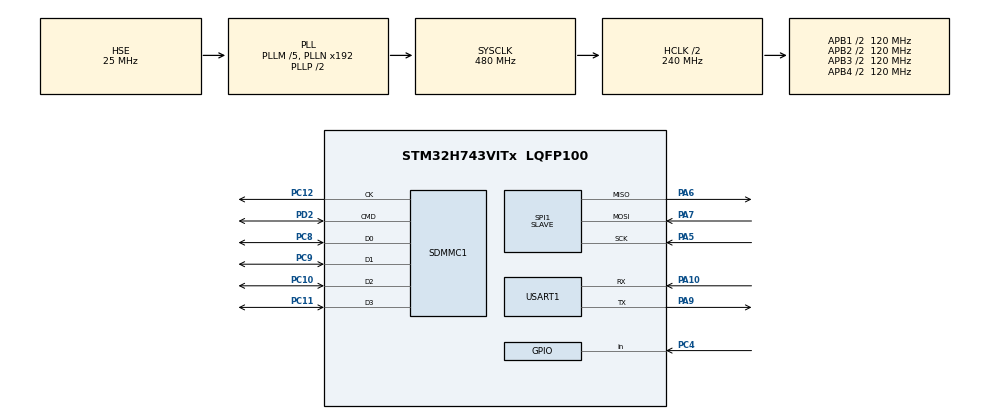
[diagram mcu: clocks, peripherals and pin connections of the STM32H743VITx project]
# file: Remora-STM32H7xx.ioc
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Dma.MEMTOMEM.2.Direction=DMA_MEMORY_TO_MEMORY
Dma.MEMTOMEM.2.EventEnable=DISABLE
Dma.MEMTOMEM.2.FIFOMode=DMA_FIFOMODE_ENABLE
Dma.MEMTOMEM.2.FIFOThreshold=DMA_FIFO_THRESHOLD_FULL
Dma.MEMTOMEM.2.Instance=DMA1_Stream2
Dma.MEMTOMEM.2.MemBurst=DMA_MBURST_SINGLE
Dma.MEMTOMEM.2.MemDataAlignment=DMA_MDATAALIGN_BYTE
Dma.MEMTOMEM.2.MemInc=DMA_MINC_ENABLE
Dma.MEMTOMEM.2.Mode=DMA_NORMAL
Dma.MEMTOMEM.2.PeriphBurst=DMA_PBURST_SINGLE
Dma.MEMTOMEM.2.PeriphDataAlignment=DMA_PDATAALIGN_BYTE
Dma.MEMTOMEM.2.PeriphInc=DMA_PINC_ENABLE
Dma.MEMTOMEM.2.Polarity=HAL_DMAMUX_REQ_GEN_RISING
Dma.MEMTOMEM.2.Priority=DMA_PRIORITY_LOW
Dma.MEMTOMEM.2.RequestNumber=1
Dma.MEMTOMEM.2.SignalID=NONE
Dma.MEMTOMEM.2.SyncEnable=DISABLE
Dma.MEMTOMEM.2.SyncPolarity=HAL_DMAMUX_SYNC_NO_EVENT
Dma.MEMTOMEM.2.SyncRequestNumber=1
Dma.MEMTOMEM.2.SyncSignalID=NONE
Dma.Request0=SPI1_TX
Dma.Request1=SPI1_RX
Dma.Request2=MEMTOMEM
Dma.SPI1_RX.1.Direction=DMA_PERIPH_TO_MEMORY
Dma.SPI1_RX.1.EventEnable=DISABLE
Dma.SPI1_RX.1.FIFOMode=DMA_FIFOMODE_DISABLE
Dma.SPI1_RX.1.Instance=DMA1_Stream1
Dma.SPI1_RX.1.MemDataAlignment=DMA_MDATAALIGN_BYTE
Dma.SPI1_RX.1.MemInc=DMA_MINC_ENABLE
Dma.SPI1_RX.1.Mode=DMA_CIRCULAR
Dma.SPI1_RX.1.PeriphDataAlignment=DMA_PDATAALIGN_BYTE
Dma.SPI1_RX.1.PeriphInc=DMA_PINC_DISABLE
Dma.SPI1_RX.1.Polarity=HAL_DMAMUX_REQ_GEN_RISING
Dma.SPI1_RX.1.Priority=DMA_PRIORITY_LOW
Dma.SPI1_RX.1.RequestNumber=1
Dma.SPI1_RX.1.SignalID=NONE
Dma.SPI1_RX.1.SyncEnable=DISABLE
Dma.SPI1_RX.1.SyncPolarity=HAL_DMAMUX_SYNC_NO_EVENT
Dma.SPI1_RX.1.SyncRequestNumber=1
Dma.SPI1_RX.1.SyncSignalID=NONE
Dma.SPI1_TX.0.Direction=DMA_MEMORY_TO_PERIPH
Dma.SPI1_TX.0.EventEnable=DISABLE
Dma.SPI1_TX.0.FIFOMode=DMA_FIFOMODE_DISABLE
Dma.SPI1_TX.0.Instance=DMA1_Stream0
Dma.SPI1_TX.0.MemDataAlignment=DMA_MDATAALIGN_BYTE
Dma.SPI1_TX.0.MemInc=DMA_MINC_ENABLE
Dma.SPI1_TX.0.Mode=DMA_CIRCULAR
Dma.SPI1_TX.0.PeriphDataAlignment=DMA_PDATAALIGN_BYTE
Dma.SPI1_TX.0.PeriphInc=DMA_PINC_DISABLE
Dma.SPI1_TX.0.Polarity=HAL_DMAMUX_REQ_GEN_RISING
Dma.SPI1_TX.0.Priority=DMA_PRIORITY_LOW
Dma.SPI1_TX.0.RequestNumber=1
Dma.SPI1_TX.0.SignalID=NONE
Dma.SPI1_TX.0.SyncEnable=DISABLE
Dma.SPI1_TX.0.SyncPolarity=HAL_DMAMUX_SYNC_NO_EVENT
Dma.SPI1_TX.0.SyncRequestNumber=1
Dma.SPI1_TX.0.SyncSignalID=NONE
FATFS.BSP.number=1
FATFS.USE_DMA_CODE_SD=1
FATFS0.BSP.STBoard=false
FATFS0.BSP.api=Unknown
FATFS0.BSP.instance=PC4
FATFS0.BSP.ip=GPIO
FATFS0.BSP.mode=Input
FATFS0.BSP.name=Detect_SDIO
FATFS0.BSP.solution=PC4
Mcu.Family=STM32H7
Mcu.Name=STM32H743VITx
Mcu.Package=LQFP100
NVIC.DMA1_Stream0_IRQn=true\:0\:0\:false\:false\:true\:false\:true\:true
NVIC.DMA1_Stream1_IRQn=true\:0\:0\:false\:false\:true\:false\:true\:true
NVIC.PriorityGroup=NVIC_PRIORITYGROUP_4
NVIC.SDMMC1_IRQn=true\:0\:0\:false\:false\:true\:true\:true\:true
NVIC.SPI1_IRQn=true\:0\:0\:false\:false\:true\:false\:true\:true
PA10.Mode=Asynchronous
PA10.Signal=USART1_RX
PA4.Signal=SPI1_NSS
PA5.Mode=Full_Duplex_Slave
PA5.Signal=SPI1_SCK
PA6.Mode=Full_Duplex_Slave
PA6.Signal=SPI1_MISO
PA7.Mode=Full_Duplex_Slave
PA7.Signal=SPI1_MOSI
PA9.Mode=Asynchronous
PA9.Signal=USART1_TX
PC10.Mode=SD_4_bits_Wide_bus
PC10.Signal=SDMMC1_D2
PC11.Mode=SD_4_bits_Wide_bus
PC11.Signal=SDMMC1_D3
PC12.Mode=SD_4_bits_Wide_bus
PC12.Signal=SDMMC1_CK
PC4.Signal=GPIO_Input
PC8.Mode=SD_4_bits_Wide_bus
PC8.Signal=SDMMC1_D0
PC9.Mode=SD_4_bits_Wide_bus
PC9.Signal=SDMMC1_D1
PD2.Mode=SD_4_bits_Wide_bus
PD2.Signal=SDMMC1_CMD
PH0-OSC_IN\ (PH0).Mode=HSE-External-Oscillator
PH0-OSC_IN\ (PH0).Signal=RCC_OSC_IN
PH1-OSC_OUT\ (PH1).Mode=HSE-External-Oscillator
PH1-OSC_OUT\ (PH1).Signal=RCC_OSC_OUT
ProjectManager.HeapSize=0x200
ProjectManager.StackSize=0x400
ProjectManager.TargetToolchain=STM32CubeIDE
RCC.ADCFreq_Value=150000000
RCC.APB1Freq_Value=120000000
RCC.APB2Freq_Value=120000000
RCC.APB3Freq_Value=120000000
RCC.APB4Freq_Value=120000000
RCC.CortexFreq_Value=480000000
RCC.D1PPRE=RCC_APB3_DIV2
RCC.D2PPRE1=RCC_APB1_DIV2
RCC.D2PPRE2=RCC_APB2_DIV2
RCC.D3PPRE=RCC_APB4_DIV2
RCC.DIVM1=5
RCC.DIVM2=2
RCC.DIVN1=192
RCC.DIVN2=12
RCC.DIVP2=1
RCC.DIVQ1=4
RCC.DIVQ2=10
RCC.HCLKFreq_Value=240000000
RCC.HPRE=RCC_HCLK_DIV2
RCC.PLL2FRACN=0
RCC.PLL3FRACN=0
RCC.PLLFRACN=0
RCC.PLLSourceVirtual=RCC_PLLSOURCE_HSE
RCC.PWR_Regulator_Voltage_Scale=PWR_REGULATOR_VOLTAGE_SCALE0
RCC.SPI123CLockSelection=RCC_SPI123CLKSOURCE_PLL2
RCC.SYSCLKFreq_VALUE=480000000
RCC.SYSCLKSource=RCC_SYSCLKSOURCE_PLLCLK
RCC.USBFreq_Value=240000000
SDMMC1.ClockDiv=8
SDMMC1.ClockPowerSave=SDMMC_CLOCK_POWER_SAVE_ENABLE
SPI1.Direction=SPI_DIRECTION_2LINES
SPI1.Mode=SPI_MODE_SLAVE
SPI1.VirtualType=VM_SLAVE
USART1.VirtualMode-Asynchronous=VM_ASYNC
VP_FATFS_VS_SDIO.Mode=SDIO
VP_MEMORYMAP_VS_MEMORYMAP.Mode=CurAppReg
board=custom

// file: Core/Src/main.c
/* USER CODE BEGIN Header */
/**
  ******************************************************************************
  * @file           : main.c
  * @brief          : Main program body
  ******************************************************************************
  * @attention
  *
  * Copyright (c) 2022 STMicroelectronics.
  * All rights reserved.
  *
  * This software is licensed under terms that can be found in the LICENSE file
  * in the root directory of this software component.
  * If no LICENSE file comes with this software, it is provided AS-IS.
  *
  ******************************************************************************
  */
/* USER CODE END Header */
#include "main.h"
#include "fatfs.h"

SD_HandleTypeDef hsd1;

SPI_HandleTypeDef hspi1;
DMA_HandleTypeDef hdma_spi1_tx;
DMA_HandleTypeDef hdma_spi1_rx;

UART_HandleTypeDef huart1;

DMA_HandleTypeDef hdma_memtomem_dma1_stream2;
/* USER CODE BEGIN PV */

uint8_t workBuffer[_MAX_SS];
/*
 * ensure that the read buffer 'rtext' is 32-Byte aligned in address and size
 * to guarantee that any other data in the cache won't be affected when the 'rtext'
 * is being invalidated.
 */
ALIGN_32BYTES(uint8_t rtext[64]);

/* USER CODE END PV */

void SystemClock_Config(void);
static void MX_GPIO_Init(void);
static void MX_DMA_Init(void);
static void MX_USART1_UART_Init(void);
static void MX_SDMMC1_SD_Init(void);

/* USER CODE BEGIN 0 */
int __io_putchar(int ch)
{
  HAL_UART_Transmit(&huart1, (uint8_t *)&ch, 1, 0xFFFF);
  return ch;
}

/* USER CODE END 0 */

int main(void)
{

  /* USER CODE BEGIN 1 */
  FRESULT res; /* FatFs function common result code */
  uint32_t byteswritten, bytesread; /* File write/read counts */
  uint8_t wtext[] = "STM32 FATFS works great!"; /* File write buffer */
  //uint8_t rtext[_MAX_SS];/* File read buffer */

  MPU_Config();

  /* Enable I-Cache */
  SCB_EnableICache();
  /* Enable D-Cache */
  //SCB_EnableDCache();

  /* USER CODE END 1 */

  /* MCU Configuration--------------------------------------------------------*/

  /* Reset of all peripherals, Initializes the Flash interface and the Systick. */
  HAL_Init();

  /* Configure the system clock */
  SystemClock_Config();

  /* Initialize all configured peripherals */
  MX_GPIO_Init();
  MX_DMA_Init();
  MX_USART1_UART_Init();
  MX_SDMMC1_SD_Init();
  MX_FATFS_Init();
  MX_SPI1_Init();
  /* USER CODE BEGIN 2 */

  //SCB_DisableICache();
  //SCB_DisableDCache();

  HAL_Delay (1000);
  printf("\nRemora SKR3 starting\n");

  if(f_mount(&SDFatFS, (TCHAR const*)SDPath, 0) != FR_OK)
    {
	  	printf("failed to mount\n\r");
        Error_Handler();
    }
    else
    {
		 //Open file for writing (Create)
		if(f_open(&SDFile, "STM32.txt", FA_CREATE_ALWAYS | FA_WRITE) != FR_OK)
		{
			printf("failed to open file\n\r");
			Error_Handler();
		}
		else
		{
			//Write to the text file
			res = f_write(&SDFile, wtext, strlen((char *)wtext), (void *)&byteswritten);
			if((byteswritten == 0) || (res != FR_OK))
			{
				printf("failed to write\n\r");
				Error_Handler();
			}
			else
			{
				f_close(&SDFile);

		        /* Open the text file object with read access */
		        if(f_open(&SDFile, "STM32.TXT", FA_READ) == FR_OK)
		        {
		          /* Read data from the text file */
		          res = f_read(&SDFile, rtext, sizeof(rtext), (void *)&bytesread);

		          if((bytesread > 0) && (res == FR_OK))
		          {
		            /* Close the open text file */
		            f_close(&SDFile);

		            /* Compare read data with the expected data */
		            if((bytesread == byteswritten))
		            {
		              /* Success of the demo: no error occurrence */
		              printf("Read and write success\n");
		            }
		          }
		        }
			}
        }
    }
    f_mount(&SDFatFS, (TCHAR const*)NULL, 0);

  /* USER CODE END 2 */

  /* Infinite loop */
  while (1)
  {

  }
}

void SystemClock_Config(void)
{
  RCC_OscInitTypeDef RCC_OscInitStruct = {0};
  RCC_ClkInitTypeDef RCC_ClkInitStruct = {0};

  /** Supply configuration update enable
  */
  HAL_PWREx_ConfigSupply(PWR_LDO_SUPPLY);

  /** Configure the main internal regulator output voltage
  */
  __HAL_PWR_VOLTAGESCALING_CONFIG(PWR_REGULATOR_VOLTAGE_SCALE1);

  while(!__HAL_PWR_GET_FLAG(PWR_FLAG_VOSRDY)) {}

  __HAL_RCC_SYSCFG_CLK_ENABLE();
  __HAL_PWR_VOLTAGESCALING_CONFIG(PWR_REGULATOR_VOLTAGE_SCALE0);

  while(!__HAL_PWR_GET_FLAG(PWR_FLAG_VOSRDY)) {}

  /** Initializes the RCC Oscillators according to the specified parameters
  * in the RCC_OscInitTypeDef structure.
  */
  RCC_OscInitStruct.OscillatorType = RCC_OSCILLATORTYPE_HSE;
  RCC_OscInitStruct.HSEState = RCC_HSE_ON;
  RCC_OscInitStruct.PLL.PLLState = RCC_PLL_ON;
  RCC_OscInitStruct.PLL.PLLSource = RCC_PLLSOURCE_HSE;
  RCC_OscInitStruct.PLL.PLLM = 5;
  RCC_OscInitStruct.PLL.PLLN = 192;
  RCC_OscInitStruct.PLL.PLLP = 2;
  RCC_OscInitStruct.PLL.PLLQ = 4;
  RCC_OscInitStruct.PLL.PLLR = 2;
  RCC_OscInitStruct.PLL.PLLRGE = RCC_PLL1VCIRANGE_2;
  RCC_OscInitStruct.PLL.PLLVCOSEL = RCC_PLL1VCOWIDE;
  RCC_OscInitStruct.PLL.PLLFRACN = 0;
  if (HAL_RCC_OscConfig(&RCC_OscInitStruct) != HAL_OK)
  {
    Error_Handler();
  }

  /** Initializes the CPU, AHB and APB buses clocks
  */
  RCC_ClkInitStruct.ClockType = RCC_CLOCKTYPE_HCLK|RCC_CLOCKTYPE_SYSCLK
                              |RCC_CLOCKTYPE_PCLK1|RCC_CLOCKTYPE_PCLK2
                              |RCC_CLOCKTYPE_D3PCLK1|RCC_CLOCKTYPE_D1PCLK1;
  RCC_ClkInitStruct.SYSCLKSource = RCC_SYSCLKSOURCE_PLLCLK;
  RCC_ClkInitStruct.SYSCLKDivider = RCC_SYSCLK_DIV1;
  RCC_ClkInitStruct.AHBCLKDivider = RCC_HCLK_DIV2;
  RCC_ClkInitStruct.APB3CLKDivider = RCC_APB3_DIV2;
  RCC_ClkInitStruct.APB1CLKDivider = RCC_APB1_DIV2;
  RCC_ClkInitStruct.APB2CLKDivider = RCC_APB2_DIV2;
  RCC_ClkInitStruct.APB4CLKDivider = RCC_APB4_DIV2;

  if (HAL_RCC_ClockConfig(&RCC_ClkInitStruct, FLASH_LATENCY_4) != HAL_OK)
  {
    Error_Handler();
  }
}

static void MX_SDMMC1_SD_Init(void)
{

  hsd1.Instance = SDMMC1;
  hsd1.Init.ClockEdge = SDMMC_CLOCK_EDGE_RISING;
  hsd1.Init.ClockPowerSave = SDMMC_CLOCK_POWER_SAVE_ENABLE;
  hsd1.Init.BusWide = SDMMC_BUS_WIDE_4B;
  hsd1.Init.HardwareFlowControl = SDMMC_HARDWARE_FLOW_CONTROL_DISABLE;
  hsd1.Init.ClockDiv = 8;
  /* USER CODE BEGIN SDMMC1_Init 2 */
  if (HAL_SD_Init(&hsd1) != HAL_OK)
  {
      printf("SD_Init error\n");
  }
  /* USER CODE END SDMMC1_Init 2 */

}

void MX_SPI1_Init(void)
{

  /* SPI1 parameter configuration*/
  hspi1.Instance = SPI1;
  hspi1.Init.Mode = SPI_MODE_SLAVE;
  hspi1.Init.Direction = SPI_DIRECTION_2LINES;
  hspi1.Init.DataSize = SPI_DATASIZE_4BIT;
  hspi1.Init.CLKPolarity = SPI_POLARITY_LOW;
  hspi1.Init.CLKPhase = SPI_PHASE_1EDGE;
  hspi1.Init.NSS = SPI_NSS_SOFT;
  hspi1.Init.FirstBit = SPI_FIRSTBIT_MSB;
  hspi1.Init.TIMode = SPI_TIMODE_DISABLE;
  hspi1.Init.CRCCalculation = SPI_CRCCALCULATION_DISABLE;
  hspi1.Init.CRCPolynomial = 0x0;
  hspi1.Init.NSSPMode = SPI_NSS_PULSE_DISABLE;
  hspi1.Init.NSSPolarity = SPI_NSS_POLARITY_LOW;
  hspi1.Init.FifoThreshold = SPI_FIFO_THRESHOLD_01DATA;
  hspi1.Init.TxCRCInitializationPattern = SPI_CRC_INITIALIZATION_ALL_ZERO_PATTERN;
  hspi1.Init.RxCRCInitializationPattern = SPI_CRC_INITIALIZATION_ALL_ZERO_PATTERN;
  hspi1.Init.MasterSSIdleness = SPI_MASTER_SS_IDLENESS_00CYCLE;
  hspi1.Init.MasterInterDataIdleness = SPI_MASTER_INTERDATA_IDLENESS_00CYCLE;
  hspi1.Init.MasterReceiverAutoSusp = SPI_MASTER_RX_AUTOSUSP_DISABLE;
  hspi1.Init.MasterKeepIOState = SPI_MASTER_KEEP_IO_STATE_DISABLE;
  hspi1.Init.IOSwap = SPI_IO_SWAP_DISABLE;
  if (HAL_SPI_Init(&hspi1) != HAL_OK)
  {
    Error_Handler();
  }

}

static void MX_USART1_UART_Init(void)
{

  huart1.Instance = USART1;
  huart1.Init.BaudRate = 115200;
  huart1.Init.WordLength = UART_WORDLENGTH_8B;
  huart1.Init.StopBits = UART_STOPBITS_1;
  huart1.Init.Parity = UART_PARITY_NONE;
  huart1.Init.Mode = UART_MODE_TX_RX;
  huart1.Init.HwFlowCtl = UART_HWCONTROL_NONE;
  huart1.Init.OverSampling = UART_OVERSAMPLING_16;
  huart1.Init.OneBitSampling = UART_ONE_BIT_SAMPLE_DISABLE;
  huart1.Init.ClockPrescaler = UART_PRESCALER_DIV1;
  huart1.AdvancedInit.AdvFeatureInit = UART_ADVFEATURE_NO_INIT;
  if (HAL_UART_Init(&huart1) != HAL_OK)
  {
    Error_Handler();
  }
  if (HAL_UARTEx_SetTxFifoThreshold(&huart1, UART_TXFIFO_THRESHOLD_1_8) != HAL_OK)
  {
    Error_Handler();
  }
  if (HAL_UARTEx_SetRxFifoThreshold(&huart1, UART_RXFIFO_THRESHOLD_1_8) != HAL_OK)
  {
    Error_Handler();
  }
  if (HAL_UARTEx_DisableFifoMode(&huart1) != HAL_OK)
  {
    Error_Handler();
  }

}

static void MX_DMA_Init(void)
{

  /* DMA controller clock enable */
  __HAL_RCC_DMA1_CLK_ENABLE();

  /* Configure DMA request hdma_memtomem_dma1_stream2 on DMA1_Stream2 */
  hdma_memtomem_dma1_stream2.Instance = DMA1_Stream2;
  hdma_memtomem_dma1_stream2.Init.Request = DMA_REQUEST_MEM2MEM;
  hdma_memtomem_dma1_stream2.Init.Direction = DMA_MEMORY_TO_MEMORY;
  hdma_memtomem_dma1_stream2.Init.PeriphInc = DMA_PINC_ENABLE;
  hdma_memtomem_dma1_stream2.Init.MemInc = DMA_MINC_ENABLE;
  hdma_memtomem_dma1_stream2.Init.PeriphDataAlignment = DMA_PDATAALIGN_BYTE;
  hdma_memtomem_dma1_stream2.Init.MemDataAlignment = DMA_MDATAALIGN_BYTE;
  hdma_memtomem_dma1_stream2.Init.Mode = DMA_NORMAL;
  hdma_memtomem_dma1_stream2.Init.Priority = DMA_PRIORITY_LOW;
  hdma_memtomem_dma1_stream2.Init.FIFOMode = DMA_FIFOMODE_ENABLE;
  hdma_memtomem_dma1_stream2.Init.FIFOThreshold = DMA_FIFO_THRESHOLD_FULL;
  hdma_memtomem_dma1_stream2.Init.MemBurst = DMA_MBURST_SINGLE;
  hdma_memtomem_dma1_stream2.Init.PeriphBurst = DMA_PBURST_SINGLE;
  if (HAL_DMA_Init(&hdma_memtomem_dma1_stream2) != HAL_OK)
  {
    Error_Handler( );
  }

  /* DMA interrupt init */
  /* DMA1_Stream0_IRQn interrupt configuration */
  HAL_NVIC_SetPriority(DMA1_Stream0_IRQn, 0, 0);
  HAL_NVIC_EnableIRQ(DMA1_Stream0_IRQn);
  /* DMA1_Stream1_IRQn interrupt configuration */
  HAL_NVIC_SetPriority(DMA1_Stream1_IRQn, 0, 0);
  HAL_NVIC_EnableIRQ(DMA1_Stream1_IRQn);

}

static void MX_GPIO_Init(void)
{
  GPIO_InitTypeDef GPIO_InitStruct = {0};

  /* GPIO Ports Clock Enable */
  __HAL_RCC_GPIOH_CLK_ENABLE();
  __HAL_RCC_GPIOA_CLK_ENABLE();
  __HAL_RCC_GPIOC_CLK_ENABLE();
  __HAL_RCC_GPIOD_CLK_ENABLE();

  /*Configure GPIO pin : PC4 */
  GPIO_InitStruct.Pin = GPIO_PIN_4;
  GPIO_InitStruct.Mode = GPIO_MODE_INPUT;
  GPIO_InitStruct.Pull = GPIO_NOPULL;
  HAL_GPIO_Init(GPIOC, &GPIO_InitStruct);

}

void Error_Handler(void)
{
  /* USER CODE BEGIN Error_Handler_Debug */
  /* User can add his own implementation to report the HAL error return state */

	printf("error\n\r");

  __disable_irq();
  while (1)
  {
  }
  /* USER CODE END Error_Handler_Debug */
}
